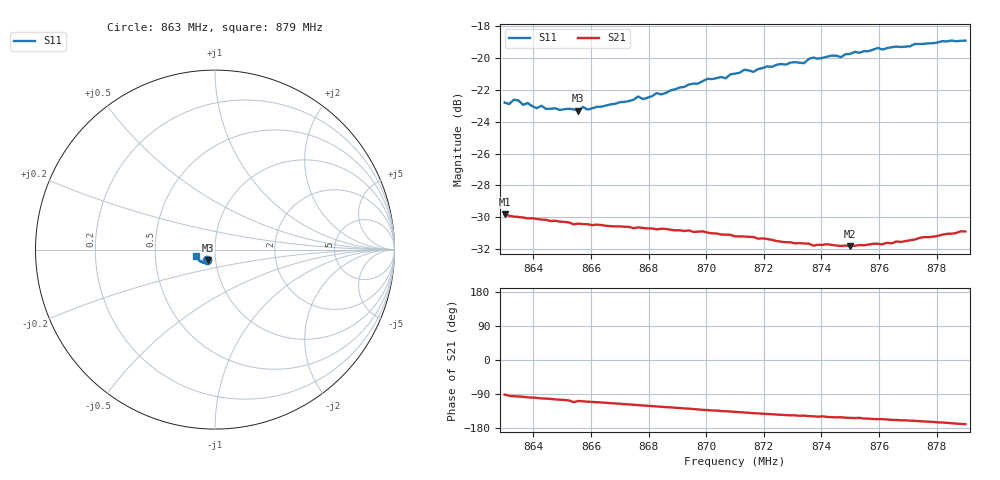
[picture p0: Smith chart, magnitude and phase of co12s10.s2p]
# HZ S RI R 50
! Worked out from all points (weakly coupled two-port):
!   101 points, 863 MHz to 879 MHz, reference 50 ohm
!   highest |S21| = -29.82 dB at 863 MHz (marker M1); lowest = -31.8 dB at 875 MHz (marker M2)
!   lowest |S11| = -23.3 dB at 865.56 MHz (marker M3), VSWR 1.15, Z = 46.1 - j5.29 ohm
!   |S11| at or under -10 dB: start of sweep to end of sweep
!   S12 and S22 are empty: the file has one direction only
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8.63e8  -0.0433 -0.0582  -0.000756 -0.0323  0 0  0 0
8.6316e8  -0.0428 -0.0576  -0.00245 -0.0319  0 0  0 0
8.6332e8  -0.0475 -0.0568  -0.00307 -0.0316  0 0  0 0
8.6412e8  -0.0412 -0.0562  -0.00539 -0.0308  0 0  0 0
8.6428e8  -0.0413 -0.0576  -0.00618 -0.0305  0 0  0 0
8.6444e8  -0.0416 -0.0554  -0.00637 -0.0304  0 0  0 0
8.6556e8  -0.0376 -0.0571  -0.00938 -0.0287  0 0  0 0
8.6572e8  -0.0376 -0.0594  -0.0098 -0.0284  0 0  0 0
8.6588e8  -0.0373 -0.0579  -0.0102 -0.0283  0 0  0 0
8.6764e8  -0.0382 -0.0655  -0.0143 -0.0257  0 0  0 0
8.678e8  -0.0376 -0.0641  -0.0146 -0.0253  0 0  0 0
8.6828e8  -0.0384 -0.0675  -0.0156 -0.0244  0 0  0 0
8.6844e8  -0.0386 -0.0666  -0.016 -0.0243  0 0  0 0
8.7004e8  -0.0474 -0.0719  -0.019 -0.021  0 0  0 0
8.7068e8  -0.0488 -0.0714  -0.0198 -0.0196  0 0  0 0
8.71e8  -0.0525 -0.0724  -0.0201 -0.0188  0 0  0 0
8.726e8  -0.0636 -0.0717  -0.0216 -0.0153  0 0  0 0
8.734e8  -0.0658 -0.0705  -0.0219 -0.0144  0 0  0 0
8.7372e8  -0.0723 -0.0697  -0.022 -0.0135  0 0  0 0
8.75e8  -0.0806 -0.0642  -0.0228 -0.0117  0 0  0 0
8.7644e8  -0.0912 -0.0582  -0.0243 -0.00977  0 0  0 0
8.79e8  -0.1072 -0.0372  -0.028 -0.00528  0 0  0 0
